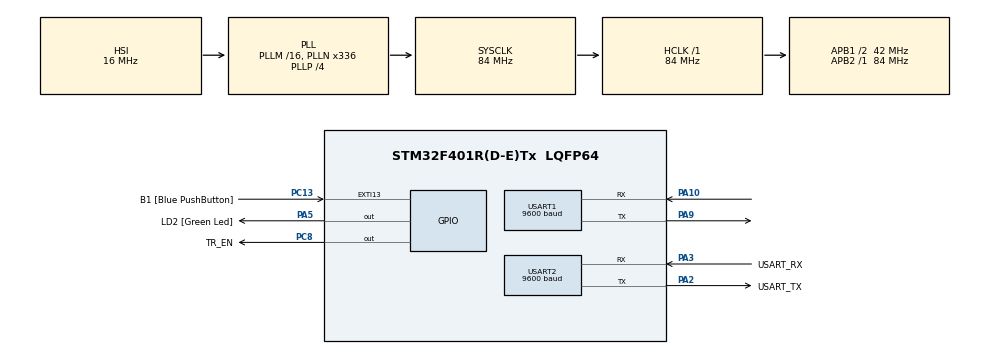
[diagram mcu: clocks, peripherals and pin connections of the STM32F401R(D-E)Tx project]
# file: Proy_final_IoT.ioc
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Dma.Request0=USART1_RX
Dma.Request1=USART1_TX
Dma.Request2=USART2_RX
Dma.Request3=USART2_TX
Dma.USART1_RX.0.Direction=DMA_PERIPH_TO_MEMORY
Dma.USART1_RX.0.FIFOMode=DMA_FIFOMODE_DISABLE
Dma.USART1_RX.0.Instance=DMA2_Stream2
Dma.USART1_RX.0.MemDataAlignment=DMA_MDATAALIGN_BYTE
Dma.USART1_RX.0.MemInc=DMA_MINC_ENABLE
Dma.USART1_RX.0.Mode=DMA_CIRCULAR
Dma.USART1_RX.0.PeriphDataAlignment=DMA_PDATAALIGN_BYTE
Dma.USART1_RX.0.PeriphInc=DMA_PINC_DISABLE
Dma.USART1_RX.0.Priority=DMA_PRIORITY_LOW
Dma.USART1_TX.1.Direction=DMA_MEMORY_TO_PERIPH
Dma.USART1_TX.1.FIFOMode=DMA_FIFOMODE_DISABLE
Dma.USART1_TX.1.Instance=DMA2_Stream7
Dma.USART1_TX.1.MemDataAlignment=DMA_MDATAALIGN_BYTE
Dma.USART1_TX.1.MemInc=DMA_MINC_ENABLE
Dma.USART1_TX.1.Mode=DMA_NORMAL
Dma.USART1_TX.1.PeriphDataAlignment=DMA_PDATAALIGN_BYTE
Dma.USART1_TX.1.PeriphInc=DMA_PINC_DISABLE
Dma.USART1_TX.1.Priority=DMA_PRIORITY_LOW
Dma.USART2_RX.2.Direction=DMA_PERIPH_TO_MEMORY
Dma.USART2_RX.2.FIFOMode=DMA_FIFOMODE_DISABLE
Dma.USART2_RX.2.Instance=DMA1_Stream5
Dma.USART2_RX.2.MemDataAlignment=DMA_MDATAALIGN_BYTE
Dma.USART2_RX.2.MemInc=DMA_MINC_ENABLE
Dma.USART2_RX.2.Mode=DMA_CIRCULAR
Dma.USART2_RX.2.PeriphDataAlignment=DMA_PDATAALIGN_BYTE
Dma.USART2_RX.2.PeriphInc=DMA_PINC_DISABLE
Dma.USART2_RX.2.Priority=DMA_PRIORITY_LOW
Dma.USART2_TX.3.Direction=DMA_MEMORY_TO_PERIPH
Dma.USART2_TX.3.FIFOMode=DMA_FIFOMODE_DISABLE
Dma.USART2_TX.3.Instance=DMA1_Stream6
Dma.USART2_TX.3.MemDataAlignment=DMA_MDATAALIGN_BYTE
Dma.USART2_TX.3.MemInc=DMA_MINC_ENABLE
Dma.USART2_TX.3.Mode=DMA_CIRCULAR
Dma.USART2_TX.3.PeriphDataAlignment=DMA_PDATAALIGN_BYTE
Dma.USART2_TX.3.PeriphInc=DMA_PINC_DISABLE
Dma.USART2_TX.3.Priority=DMA_PRIORITY_LOW
Mcu.Family=STM32F4
Mcu.Name=STM32F401R(D-E)Tx
Mcu.Package=LQFP64
NVIC.DMA1_Stream5_IRQn=true\:0\:0\:false\:false\:true\:false\:true\:true
NVIC.DMA1_Stream6_IRQn=true\:0\:0\:false\:false\:true\:false\:true\:true
NVIC.DMA2_Stream2_IRQn=true\:0\:0\:false\:false\:true\:false\:true\:true
NVIC.DMA2_Stream7_IRQn=true\:0\:0\:false\:false\:true\:false\:true\:true
NVIC.PriorityGroup=NVIC_PRIORITYGROUP_0
PA10.Mode=Asynchronous
PA10.Signal=USART1_RX
PA13.GPIO_Label=TMS
PA13.Mode=Serial_Wire
PA13.Signal=SYS_JTMS-SWDIO
PA14.GPIO_Label=TCK
PA14.Mode=Serial_Wire
PA14.Signal=SYS_JTCK-SWCLK
PA2.GPIO_Label=USART_TX
PA2.GPIO_Mode=GPIO_MODE_AF_PP
PA2.GPIO_PuPd=GPIO_NOPULL
PA2.GPIO_Speed=GPIO_SPEED_FREQ_LOW
PA2.Mode=Asynchronous
PA2.Signal=USART2_TX
PA3.GPIO_Label=USART_RX
PA3.GPIO_Mode=GPIO_MODE_AF_PP
PA3.GPIO_PuPd=GPIO_NOPULL
PA3.GPIO_Speed=GPIO_SPEED_FREQ_LOW
PA3.Mode=Asynchronous
PA3.Signal=USART2_RX
PA5.GPIO_Label=LD2 [Green Led]
PA5.GPIO_Mode=GPIO_MODE_OUTPUT_PP
PA5.GPIO_PuPd=GPIO_NOPULL
PA5.GPIO_Speed=GPIO_SPEED_FREQ_LOW
PA5.Signal=GPIO_Output
PA9.Mode=Asynchronous
PA9.Signal=USART1_TX
PB3.GPIO_Label=SWO
PB3.Signal=SYS_JTDO-SWO
PC13-ANTI_TAMP.GPIO_Label=B1 [Blue PushButton]
PC13-ANTI_TAMP.GPIO_ModeDefaultEXTI=GPIO_MODE_IT_FALLING
PC13-ANTI_TAMP.GPIO_PuPd=GPIO_NOPULL
PC13-ANTI_TAMP.Signal=GPXTI13
PC14-OSC32_IN.Mode=LSE-External-Oscillator
PC14-OSC32_IN.Signal=RCC_OSC32_IN
PC15-OSC32_OUT.Mode=LSE-External-Oscillator
PC15-OSC32_OUT.Signal=RCC_OSC32_OUT
PC8.GPIO_Label=TR_EN
PC8.GPIO_ModeDefaultOutputPP=GPIO_MODE_OUTPUT_OD
PC8.GPIO_PuPd=GPIO_NOPULL
PC8.Signal=GPIO_Output
PH0\ -\ OSC_IN.Mode=HSE-External-Clock-Source
PH0\ -\ OSC_IN.Signal=RCC_OSC_IN
PH1\ -\ OSC_OUT.Mode=HSE-External-Clock-Source
PH1\ -\ OSC_OUT.Signal=RCC_OSC_OUT
ProjectManager.HeapSize=0x200
ProjectManager.StackSize=0x400
ProjectManager.TargetToolchain=STM32CubeIDE
RCC.48MHZClocksFreq_Value=48000000
RCC.AHBFreq_Value=84000000
RCC.APB1CLKDivider=RCC_HCLK_DIV2
RCC.APB1Freq_Value=42000000
RCC.APB1TimFreq_Value=84000000
RCC.APB2Freq_Value=84000000
RCC.APB2TimFreq_Value=84000000
RCC.CortexFreq_Value=84000000
RCC.HCLKFreq_Value=84000000
RCC.HSE_VALUE=8000000
RCC.HSI_VALUE=16000000
RCC.PLLN=336
RCC.PLLP=RCC_PLLP_DIV4
RCC.PLLQ=7
RCC.SYSCLKFreq_VALUE=84000000
RCC.SYSCLKSource=RCC_SYSCLKSOURCE_PLLCLK
RCC.VCOOutputFreq_Value=336000000
USART1.BaudRate=9600
USART1.VirtualMode=VM_ASYNC
USART2.BaudRate=9600
USART2.VirtualMode=VM_ASYNC
VP_CRC_VS_CRC.Mode=CRC_Activate
board=NUCLEO-F401RE

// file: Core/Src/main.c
/* USER CODE BEGIN Header */
/**
  ******************************************************************************
  * @file           : main.c
  * @brief          : Main program body
  ******************************************************************************
  * @attention
  *
  * Copyright (c) 2022 STMicroelectronics.
  * All rights reserved.
  *
  * This software is licensed under terms that can be found in the LICENSE file
  * in the root directory of this software component.
  * If no LICENSE file comes with this software, it is provided AS-IS.
  *
  ******************************************************************************
  */
/* USER CODE END Header */
#include "main.h"

/* USER CODE BEGIN PD */
#define LOCAL_ADDR 0x05
/* USER CODE END PD */

 CRC_HandleTypeDef hcrc;

UART_HandleTypeDef huart1;
UART_HandleTypeDef huart2;
DMA_HandleTypeDef hdma_usart1_rx;
DMA_HandleTypeDef hdma_usart1_tx;
DMA_HandleTypeDef hdma_usart2_rx;
DMA_HandleTypeDef hdma_usart2_tx;

/* USER CODE BEGIN PV */
uint8_t vec[]="pruebademensaje";

/* USER CODE END PV */

void SystemClock_Config(void);
static void MX_GPIO_Init(void);
static void MX_DMA_Init(void);
static void MX_USART2_UART_Init(void);
static void MX_USART1_UART_Init(void);
static void MX_CRC_Init(void);
/* USER CODE BEGIN PFP */
void receive_sensor(uint8_t *);
uint8_t send_data(uint8_t *, uint8_t ,uint8_t ,uint8_t );
uint8_t receive_data(void);
int compareTwoString(char a[],char b[]);
/* USER CODE END PFP */

int main(void)
{

  /* MCU Configuration--------------------------------------------------------*/

  /* Reset of all peripherals, Initializes the Flash interface and the Systick. */
  HAL_Init();

  /* Configure the system clock */
  SystemClock_Config();

  /* Initialize all configured peripherals */
  MX_GPIO_Init();
  MX_DMA_Init();
  MX_USART2_UART_Init();
  MX_USART1_UART_Init();
  MX_CRC_Init();
  /* USER CODE BEGIN 2 */
  HAL_UART_MspInit(&huart1);//Inicializar la comunicación
  HAL_UART_MspInit(&huart2);

  send_data(vec,LOCAL_ADDR,0x06,sizeof(vec));
  receive_data();
  /* USER CODE END 2 */

  /* Infinite loop */
  /* USER CODE BEGIN WHILE */
  while (1)
  {
	  receive_data();

    /* USER CODE END WHILE */

  }
}

void SystemClock_Config(void)
{
  RCC_OscInitTypeDef RCC_OscInitStruct = {0};
  RCC_ClkInitTypeDef RCC_ClkInitStruct = {0};

  /** Configure the main internal regulator output voltage
  */
  __HAL_RCC_PWR_CLK_ENABLE();
  __HAL_PWR_VOLTAGESCALING_CONFIG(PWR_REGULATOR_VOLTAGE_SCALE2);

  /** Initializes the RCC Oscillators according to the specified parameters
  * in the RCC_OscInitTypeDef structure.
  */
  RCC_OscInitStruct.OscillatorType = RCC_OSCILLATORTYPE_HSI;
  RCC_OscInitStruct.HSIState = RCC_HSI_ON;
  RCC_OscInitStruct.HSICalibrationValue = RCC_HSICALIBRATION_DEFAULT;
  RCC_OscInitStruct.PLL.PLLState = RCC_PLL_ON;
  RCC_OscInitStruct.PLL.PLLSource = RCC_PLLSOURCE_HSI;
  RCC_OscInitStruct.PLL.PLLM = 16;
  RCC_OscInitStruct.PLL.PLLN = 336;
  RCC_OscInitStruct.PLL.PLLP = RCC_PLLP_DIV4;
  RCC_OscInitStruct.PLL.PLLQ = 7;
  if (HAL_RCC_OscConfig(&RCC_OscInitStruct) != HAL_OK)
  {
    Error_Handler();
  }

  /** Initializes the CPU, AHB and APB buses clocks
  */
  RCC_ClkInitStruct.ClockType = RCC_CLOCKTYPE_HCLK|RCC_CLOCKTYPE_SYSCLK
                              |RCC_CLOCKTYPE_PCLK1|RCC_CLOCKTYPE_PCLK2;
  RCC_ClkInitStruct.SYSCLKSource = RCC_SYSCLKSOURCE_PLLCLK;
  RCC_ClkInitStruct.AHBCLKDivider = RCC_SYSCLK_DIV1;
  RCC_ClkInitStruct.APB1CLKDivider = RCC_HCLK_DIV2;
  RCC_ClkInitStruct.APB2CLKDivider = RCC_HCLK_DIV1;

  if (HAL_RCC_ClockConfig(&RCC_ClkInitStruct, FLASH_LATENCY_2) != HAL_OK)
  {
    Error_Handler();
  }
}

static void MX_CRC_Init(void)
{

  hcrc.Instance = CRC;
  if (HAL_CRC_Init(&hcrc) != HAL_OK)
  {
    Error_Handler();
  }

}

static void MX_USART1_UART_Init(void)
{

  huart1.Instance = USART1;
  huart1.Init.BaudRate = 9600;
  huart1.Init.WordLength = UART_WORDLENGTH_8B;
  huart1.Init.StopBits = UART_STOPBITS_1;
  huart1.Init.Parity = UART_PARITY_NONE;
  huart1.Init.Mode = UART_MODE_TX_RX;
  huart1.Init.HwFlowCtl = UART_HWCONTROL_NONE;
  huart1.Init.OverSampling = UART_OVERSAMPLING_16;
  if (HAL_UART_Init(&huart1) != HAL_OK)
  {
    Error_Handler();
  }

}

static void MX_USART2_UART_Init(void)
{

  huart2.Instance = USART2;
  huart2.Init.BaudRate = 9600;
  huart2.Init.WordLength = UART_WORDLENGTH_8B;
  huart2.Init.StopBits = UART_STOPBITS_1;
  huart2.Init.Parity = UART_PARITY_NONE;
  huart2.Init.Mode = UART_MODE_TX_RX;
  huart2.Init.HwFlowCtl = UART_HWCONTROL_NONE;
  huart2.Init.OverSampling = UART_OVERSAMPLING_16;
  if (HAL_UART_Init(&huart2) != HAL_OK)
  {
    Error_Handler();
  }

}

static void MX_DMA_Init(void)
{

  /* DMA controller clock enable */
  __HAL_RCC_DMA2_CLK_ENABLE();
  __HAL_RCC_DMA1_CLK_ENABLE();

  /* DMA interrupt init */
  /* DMA1_Stream5_IRQn interrupt configuration */
  HAL_NVIC_SetPriority(DMA1_Stream5_IRQn, 0, 0);
  HAL_NVIC_EnableIRQ(DMA1_Stream5_IRQn);
  /* DMA1_Stream6_IRQn interrupt configuration */
  HAL_NVIC_SetPriority(DMA1_Stream6_IRQn, 0, 0);
  HAL_NVIC_EnableIRQ(DMA1_Stream6_IRQn);
  /* DMA2_Stream2_IRQn interrupt configuration */
  HAL_NVIC_SetPriority(DMA2_Stream2_IRQn, 0, 0);
  HAL_NVIC_EnableIRQ(DMA2_Stream2_IRQn);
  /* DMA2_Stream7_IRQn interrupt configuration */
  HAL_NVIC_SetPriority(DMA2_Stream7_IRQn, 0, 0);
  HAL_NVIC_EnableIRQ(DMA2_Stream7_IRQn);

}

static void MX_GPIO_Init(void)
{
  GPIO_InitTypeDef GPIO_InitStruct = {0};

  /* GPIO Ports Clock Enable */
  __HAL_RCC_GPIOC_CLK_ENABLE();
  __HAL_RCC_GPIOH_CLK_ENABLE();
  __HAL_RCC_GPIOA_CLK_ENABLE();
  __HAL_RCC_GPIOB_CLK_ENABLE();

  /*Configure GPIO pin Output Level */
  HAL_GPIO_WritePin(LD2_GPIO_Port, LD2_Pin, GPIO_PIN_RESET);

  /*Configure GPIO pin Output Level */
  HAL_GPIO_WritePin(TR_EN_GPIO_Port, TR_EN_Pin, GPIO_PIN_RESET);

  /*Configure GPIO pin : B1_Pin */
  GPIO_InitStruct.Pin = B1_Pin;
  GPIO_InitStruct.Mode = GPIO_MODE_IT_FALLING;
  GPIO_InitStruct.Pull = GPIO_NOPULL;
  HAL_GPIO_Init(B1_GPIO_Port, &GPIO_InitStruct);

  /*Configure GPIO pin : LD2_Pin */
  GPIO_InitStruct.Pin = LD2_Pin;
  GPIO_InitStruct.Mode = GPIO_MODE_OUTPUT_PP;
  GPIO_InitStruct.Pull = GPIO_NOPULL;
  GPIO_InitStruct.Speed = GPIO_SPEED_FREQ_LOW;
  HAL_GPIO_Init(LD2_GPIO_Port, &GPIO_InitStruct);

  /*Configure GPIO pin : TR_EN_Pin */
  GPIO_InitStruct.Pin = TR_EN_Pin;
  GPIO_InitStruct.Mode = GPIO_MODE_OUTPUT_OD;
  GPIO_InitStruct.Pull = GPIO_NOPULL;
  GPIO_InitStruct.Speed = GPIO_SPEED_FREQ_LOW;
  HAL_GPIO_Init(TR_EN_GPIO_Port, &GPIO_InitStruct);

}

/* USER CODE BEGIN 4 */
void receive_sensor(uint8_t *data){
	uint8_t payload[16]={0};
	uint32_t i,j;

	for(i=0;i<=sizeof(*data);i++){
		if(*(data+i)=='A' && *(data+i+1)=='A'){
			for(j=0;j<16;j++){
				if(*(data+j)!='B'&& *(data+j+1)!='B')
					*(payload + j) = *(data + i + j + 2);
				else {
					*(payload+j-1)=0;
					break;
				}
			}
		}

	}

return;
}
uint8_t send_data(uint8_t *payload, uint8_t orAddr,uint8_t destAddr,uint8_t size){
	uint8_t START_FRAME[2]= {0xAA,0x55};
	uint8_t END_FRAME[2]= {0x55,0xAA};
	uint8_t maxSize=11+size;
	uint8_t crc[4]={0};
	uint32_t aux_crc=0;
	uint8_t Cant_Ceros_add=0;

	Cant_Ceros_add=4-(11+size)%4;	//determinamos la canitdad de cero a agregar para hacerlo multiplo de 4

	uint8_t trama[maxSize+Cant_Ceros_add];
	unsigned int i;
	unsigned int j;
	for(i=0;i< maxSize;i++){
		if(i==0)
			*(trama+i)= START_FRAME[i];
		if(i==1)
			*(trama+i)= START_FRAME[i];
		if(i==2)
			*(trama+i)= orAddr;
		if(i==3)
			*(trama+i)= destAddr;
		if(i==4)
			*(trama+i)= size;
		if(i==5){
			for(j=0;j<size;j++)
				*(trama+i+j)=*(payload+j);
		}
		if(i==6){
			for(j=0;j<4;j++){
				*(trama+i+j+size-1)=*(crc+j);		//completamos con '0' las posiciones del CRC
			}
		}
		if(i==7)
			*(trama+i+size+2)= END_FRAME[0];
		if(i==8){
				*(trama+i+size+2)= END_FRAME[1]; //
			for(j=0;j<Cant_Ceros_add;j++)
				*(trama+i+j+1+size+2)=0x00;		//agregamos los ceros adicionales al final de la trama para que sea multiplo de 32bits
		}
	}
	aux_crc= HAL_CRC_Calculate(&hcrc,(uint32_t *) trama, sizeof(trama)/sizeof(uint32_t));//calculamos el CRC

	*(trama+8+size)=aux_crc&0xFF000000>>24;			//dividimos los 32 bits del CRC...
	*(trama+7+size)=(aux_crc&0xFF000000>>16)>>8;	//...y lo colocamos en el vector Trama
	*(trama+6+size)=(aux_crc&0xFF000000>>8)>>16;
	*(trama+5+size)=(aux_crc&0xFF000000)>>24;

	 HAL_GPIO_WritePin(TR_EN_GPIO_Port, TR_EN_Pin,GPIO_PIN_SET );	//transmision enable
	 HAL_Delay(1);
	 HAL_UART_Transmit(&huart1, trama, sizeof(trama), HAL_MAX_DELAY);
	 HAL_GPIO_WritePin(TR_EN_GPIO_Port, TR_EN_Pin,GPIO_PIN_RESET );	//reception enable
	return 0;

}
uint8_t receive_data(void){
	uint8_t buffer=0;
	uint8_t state=0;
	uint8_t orAddr;
	static uint8_t i=0;
	static uint8_t payload_size=0;
	static uint8_t end_data =0;
	uint8_t payload[256]={0};
	uint8_t trama[28]={0};
	unsigned int status=HAL_OK;
	int j=0;
	uint8_t aux_crc[4]={0};
	uint32_t crc_rx_calc=0;
	uint32_t crc_rx_recib=0;
	while(!end_data){
		status=HAL_UART_Receive(&huart1, &buffer, sizeof(buffer), 2000);
		if(status==HAL_TIMEOUT){
			send_data(vec,LOCAL_ADDR,0x06,sizeof(vec));
			return 0;
		}
		j++;
			switch(state){
				case 0:
					if(buffer==0xAA){
							state++;
							trama[0]=buffer;
					}
				break;
				case 1:
					if(buffer==0x55){
							state++;
							trama[1]=buffer;
					}
						else state=0;
				break;
				case 2:
					orAddr= buffer;
						state++;
						trama[2]=buffer;
				break;
				case 3:
					if(buffer==LOCAL_ADDR){
							state++;
							trama[3]=buffer;
					}
					else state = 0;
				break;
				case 4:
					payload_size=buffer;
					trama[4]=buffer;
						state++;
				break;
				case 5:
					*(payload+i)=buffer;
					trama[5+i]=buffer;
						i++;
						if(i>payload_size-1){
							state ++;
							i=0;
						}
				break;
				case 6:
					trama[5+payload_size+i]=0;
					aux_crc[i]=buffer;
						i++;
						if(i>3){
							state++;
							i=0;
						}
				break;
				case 7:
					if(buffer==0x55){
						state++;
						trama[9+payload_size]=buffer;
					}
						else state=0;
				break;
				case 8:
					if(buffer==0xAA){
							end_data=1;
							trama[10+payload_size]=buffer;
					}
						state=0;
				break;
				default:
					end_data=1;
						 state=0;
				break;
			}

	}

	crc_rx_calc= HAL_CRC_Calculate(&hcrc,(uint32_t *) trama, sizeof(trama)/sizeof(uint32_t));
	crc_rx_recib= aux_crc[3] | aux_crc[2]<<8 | aux_crc[1]<<16 |aux_crc[0]<<24;

	if(trama[5]=='E' && trama[6]=='R')
		send_data(vec,LOCAL_ADDR,0x06,sizeof(vec));
	return 0;
}

/* USER CODE END 4 */

void Error_Handler(void)
{
  __disable_irq();
  while (1)
  {
  }
}
